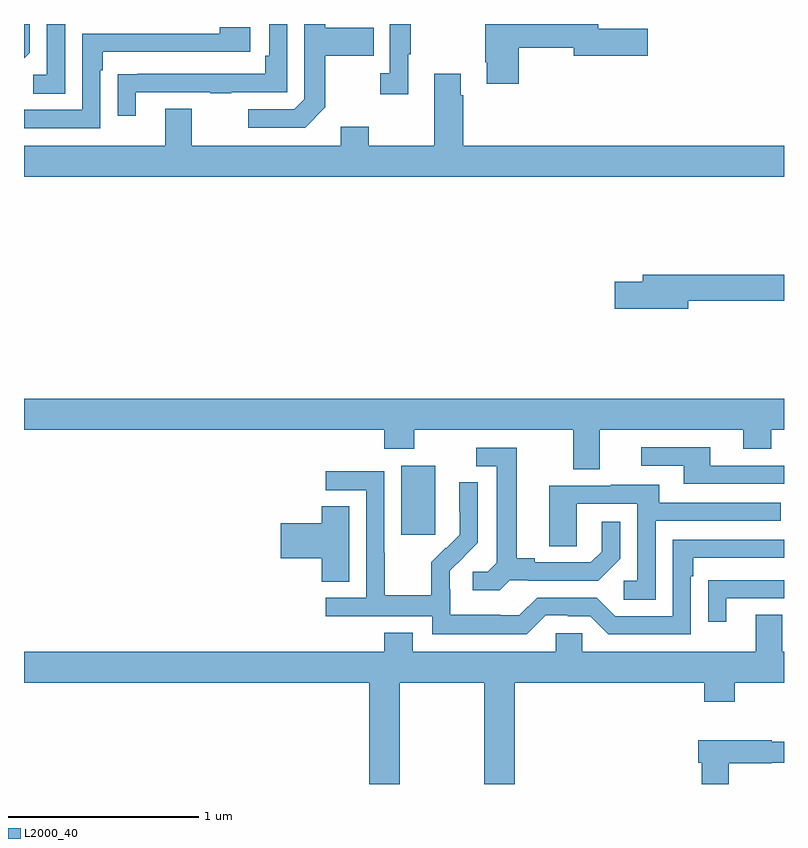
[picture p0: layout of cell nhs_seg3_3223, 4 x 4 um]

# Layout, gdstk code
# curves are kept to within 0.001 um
import gdstk
lib = gdstk.Library(unit=1e-6, precision=1e-09)
def R(c, l, rs):  # rectangles x0, y0, x1, y1
    for r in rs: c.add(gdstk.rectangle(r[:2], r[2:], *l))
def P(c, l, *ps):  # polygons
    for p in ps: c.add(gdstk.Polygon(p, *l))
L2000_40 = (2000, 40)

nhs_seg3_3223 = lib.new_cell('nhs_seg3_3223')
R(nhs_seg3_3223, L2000_40, [(280.985,685.713,281.164,686.074)])
P(nhs_seg3_3223, L2000_40, [(280.585,687.961),(280.585,688.234),(280.841,688.234),(280.841,688.381),(280.585,688.381),(280.585,688.4),(280.476,688.4),(280.476,688.005),(280.422,687.951),(280.179,687.951),(280.179,687.855),(280.479,687.855)],
  [(281.603,688.276),(281.894,688.276),(281.894,688.234),(282.283,688.234),(282.283,688.376),(282.022,688.376),(282.022,688.4),(281.428,688.4),(281.428,688.198),(281.435,688.198),(281.435,688.086),(281.603,688.086)],
  [(279.589,688.041),(279.979,688.041),(279.979,688.036),(280.091,688.036),(280.091,688.041),(280.386,688.041),(280.386,688.4),(280.29,688.4),(280.29,688.234),(280.27,688.234),(280.27,688.137),(279.595,688.137),(279.595,688.136),(279.493,688.136),(279.493,687.918),(279.589,687.918)],
  [(279.216,688.4),(279.12,688.4),(279.12,688.134),(279.048,688.134),(279.048,688.033),(279.216,688.033)],
  [(281.023,688.241),(281.035,688.241),(281.035,688.4),(280.926,688.4),(280.926,688.142),(280.875,688.142),(280.875,688.029),(281.023,688.029)],
  [(279.03,688.25),(279.03,688.4),(279,688.4),(279,688.22)],
  [(279.402,688.157),(279.415,688.157),(279.415,688.254),(280.192,688.254),(280.192,688.384),(280.031,688.384),(280.031,688.35),(279.306,688.35),(279.306,687.948),(279.003,687.948),(279,687.951),(279,687.852),(279.402,687.852)],
  [(283,687.76),(281.312,687.76),(281.312,688.025),(281.299,688.025),(281.299,688.138),(281.159,688.138),(281.159,687.76),(280.815,687.76),(280.815,687.859),(280.667,687.859),(280.667,687.76),(279.883,687.76),(279.883,687.955),(279.743,687.955),(279.743,687.76),(279,687.76),(279,687.596),(283,687.596)],
  [(282.496,686.944),(283,686.944),(283,687.08),(282.257,687.08),(282.257,687.044),(282.108,687.044),(282.108,686.902),(282.496,686.902)],
  [(282.031,686.264),(282.785,686.264),(282.785,686.165),(282.933,686.165),(282.933,686.264),(283,686.264),(283,686.428),(279,686.428),(279,686.264),(280.895,686.264),(280.895,686.165),(281.055,686.165),(281.055,686.264),(281.891,686.264),(281.891,686.056),(282.031,686.056)],
  [(283,686.076),(282.613,686.076),(282.613,686.172),(282.249,686.172),(282.249,686.076),(282.473,686.076),(282.473,685.98),(283,685.98)],
  [(281.556,685.473),(281.65,685.473),(281.65,685.47),(282.022,685.47),(282.138,685.586),(282.138,685.78),(282.041,685.78),(282.041,685.623),(281.984,685.566),(281.689,685.566),(281.689,685.589),(281.593,685.589),(281.593,686.169),(281.379,686.169),(281.379,686.073),(281.489,686.073),(281.489,685.565),(281.442,685.518),(281.361,685.518),(281.361,685.421),(281.504,685.421)],
  [(281.745,685.287),(281.861,685.287),(281.861,685.284),(281.979,685.284),(282.075,685.188),(282.51,685.188),(282.51,685.493),(282.523,685.493),(282.523,685.59),(283,685.59),(283,685.686),(282.414,685.686),(282.414,685.284),(282.111,685.284),(282.015,685.38),(281.7,685.38),(281.607,685.287),(281.507,685.287),(281.507,685.291),(281.244,685.291),(281.244,685.425),(281.242,685.425),(281.242,685.522),(281.388,685.67),(281.388,685.988),(281.292,685.988),(281.292,685.834),(281.294,685.834),(281.294,685.712),(281.223,685.641),(281.22,685.644),(281.143,685.567),(281.143,685.393),(280.899,685.393),(280.899,685.616),(280.896,685.616),(280.896,686.046),(280.587,686.046),(280.587,685.947),(280.8,685.947),(280.8,685.38),(280.587,685.38),(280.587,685.284),(281.148,685.284),(281.148,685.187),(281.645,685.187)],
  [(282.324,685.785),(282.983,685.785),(282.983,685.881),(282.343,685.881),(282.343,685.975),(282.089,685.975),(282.089,685.971),(281.765,685.971),(281.765,685.651),(281.91,685.651),(281.91,685.875),(282.228,685.875),(282.228,685.47),(282.156,685.47),(282.156,685.369),(282.324,685.369)],
  [(280.711,685.862),(280.568,685.862),(280.568,685.772),(280.35,685.772),(280.35,685.589),(280.568,685.589),(280.568,685.465),(280.711,685.465)],
  [(282.697,685.377),(283,685.377),(283,685.473),(282.703,685.473),(282.703,685.472),(282.601,685.472),(282.601,685.254),(282.697,685.254)],
  [(280.977,684.932),(281.422,684.932),(281.422,684.4),(281.582,684.4),(281.582,684.932),(282.581,684.932),(282.581,684.833),(282.741,684.833),(282.741,684.932),(283,684.932),(283,685.096),(282.991,685.096),(282.991,685.291),(282.851,685.291),(282.851,685.096),(281.937,685.096),(281.937,685.194),(281.799,685.194),(281.799,685.096),(281.047,685.096),(281.047,685.195),(280.895,685.195),(280.895,685.096),(279,685.096),(279,684.932),(280.817,684.932),(280.817,684.4),(280.977,684.4)],
  [(282.708,684.509),(282.936,684.509),(282.936,684.513),(283,684.513),(283,684.622),(282.936,684.622),(282.936,684.631),(282.548,684.631),(282.548,684.513),(282.566,684.513),(282.566,684.4),(282.708,684.4)])

lib.write_gds('nhs_seg3_3223.gds')
